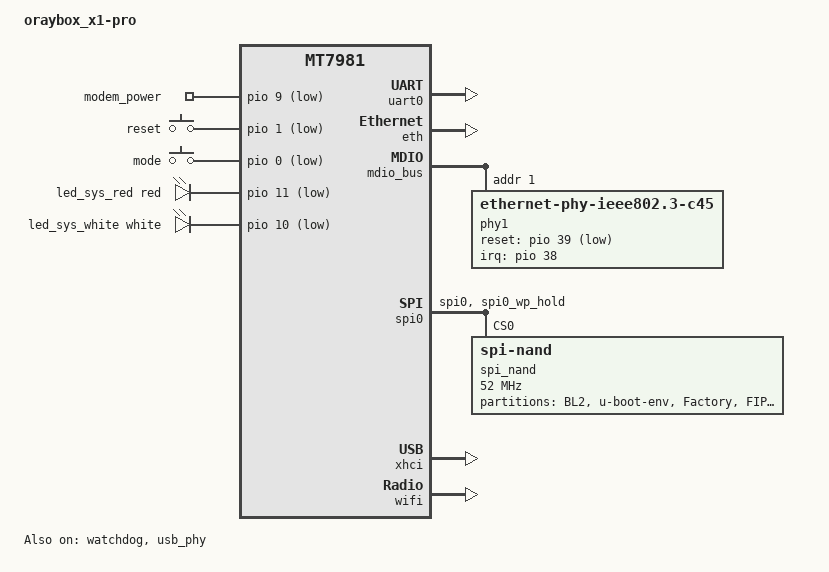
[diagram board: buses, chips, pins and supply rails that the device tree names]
// SPDX-License-Identifier: (GPL-2.0 OR MIT)
//
// Oray X1 Pro (128M NAND, ubootmod layout)
// Hardware identical to Cudy TR3000 v1 (MT7981)
// Partition layout aligned with uboot mtdparts:
//   nmbm0:1024k(bl2),512k(u-boot-env),2048k(factory),2048k(fip),
//          512k(bdinfo),2048k(kpanic),114688k(ubi_0)
//

/dts-v1/;
#include <dt-bindings/leds/common.h>
#include "mt7981.dtsi"

/ {
	model = "oraybox_x1-pro";
	compatible = "mediatek,mt7981", "mediatek,mt7981-rfb";


	aliases {
		label-mac-device = &gmac1;
		led-boot = &led_sys_red;
		led-failsafe = &led_sys_red;
		led-running = &led_sys_white;
		led-upgrade = &led_sys_white;
		serial0 = &uart0;
	};

	chosen: chosen {
		stdout-path = "serial0:115200n8";
	};

	/* GPIO export for modem power control */
	gpio-export {
		compatible = "gpio-export";

		modem_power {
			gpio-export,name = "modem_power";
			gpio-export,output = <0>;
			gpios = <&pio 9 GPIO_ACTIVE_LOW>;
		};
	};

	gpio-keys {
		compatible = "gpio-keys";

		reset {
			label = "reset";
			linux,code = <KEY_RESTART>;
			gpios = <&pio 1 GPIO_ACTIVE_LOW>;
		};

		mode {
			label = "mode";
			linux,code = <BTN_0>;
			linux,input-type = <EV_SW>;
			gpios = <&pio 0 GPIO_ACTIVE_LOW>;
			debounce-interval = <60>;
		};
	};

	leds {
		compatible = "gpio-leds";

		led_sys_red: led-0 {
			function = LED_FUNCTION_POWER;
			color = <LED_COLOR_ID_RED>;
			gpios = <&pio 11 GPIO_ACTIVE_LOW>;
		};

		led_sys_white: led-1 {
			function = LED_FUNCTION_STATUS;
			color = <LED_COLOR_ID_WHITE>;
			gpios = <&pio 10 GPIO_ACTIVE_LOW>;
		};
	};
};

&uart0 {
	status = "okay";
};

&watchdog {
	status = "okay";
};

&eth {
	pinctrl-names = "default";
	pinctrl-0 = <&mdio_pins>;
	status = "okay";

	gmac0: mac@0 {
		compatible = "mediatek,eth-mac";
		reg = <0>;
		phy-mode = "2500base-x";
		phy-handle = <&phy1>;
		nvmem-cell-names = "mac-address";
		nvmem-cells = <&macaddr_bdinfo_de00 1>;
	};

	gmac1: mac@1 {
		compatible = "mediatek,eth-mac";
		reg = <1>;
		phy-mode = "gmii";
		phy-handle = <&int_gbe_phy>;
		nvmem-cell-names = "mac-address";
		nvmem-cells = <&macaddr_bdinfo_de00 0>;
	};
};

&mdio_bus {
	phy1: phy@1 {
		compatible = "ethernet-phy-ieee802.3-c45";
		reg = <1>;
		reset-assert-us = <100000>;
		reset-deassert-us = <100000>;
		reset-gpios = <&pio 39 GPIO_ACTIVE_LOW>;
		interrupts = <38 IRQ_TYPE_LEVEL_LOW>;
		interrupt-parent = <&pio>;
		realtek,aldps-enable;
	};
};

&spi0 {
	pinctrl-names = "default";
	pinctrl-0 = <&spi0_flash_pins>;
	status = "okay";

	spi_nand: flash@0 {
		#address-cells = <1>;
		#size-cells = <1>;
		compatible = "spi-nand";
		reg = <0>;

		spi-max-frequency = <52000000>;
		spi-tx-bus-width = <4>;
		spi-rx-bus-width = <4>;

		/* SPI NAND calibration — from TR3000, verified working */
		spi-cal-enable;
		spi-cal-mode = "read-data";
		spi-cal-datalen = <7>;
		spi-cal-data = /bits/ 8 <0x53 0x50 0x49 0x4E 0x41 0x4E 0x44>;
		spi-cal-addrlen = <5>;
		spi-cal-addr = /bits/ 32 <0x0 0x0 0x0 0x0 0x0>;

		/* NMBM for bad block management */
		mediatek,nmbm;
		mediatek,bmt-max-ratio = <1>;
		mediatek,bmt-max-reserved-blocks = <64>;

		partitions {
			compatible = "fixed-partitions";
			#address-cells = <1>;
			#size-cells = <1>;

			partition@0 {
				label = "BL2";
				reg = <0x00000 0x100000>;
				read-only;
			};

			partition@100000 {
				label = "u-boot-env";
				reg = <0x100000 0x80000>;
				read-only;
			};

			factory: partition@180000 {
				label = "Factory";
				reg = <0x180000 0x200000>;
				read-only;

				nvmem-layout {
					compatible = "fixed-layout";
					#address-cells = <1>;
					#size-cells = <1>;

					eeprom_factory_0: eeprom@0 {
						reg = <0x0 0x1000>;
					};
				};
			};

			partition@380000 {
				label = "FIP";
				reg = <0x380000 0x200000>;
				read-only;
			};

			partition@580000 {
				label = "bdinfo";
				reg = <0x580000 0x80000>;
				read-only;

				nvmem-layout {
					compatible = "fixed-layout";
					#address-cells = <1>;
					#size-cells = <1>;

					macaddr_bdinfo_de00: macaddr@de00 {
						compatible = "mac-base";
						reg = <0xde00 0x6>;
						#nvmem-cell-cells = <1>;
					};
				};
			};

			partition@600000 {
				label = "kpanic";
				reg = <0x600000 0x200000>;
			};

			ubi_0: partition@800000 {
				label = "ubi_0";
				compatible = "linux,ubi";
				reg = <0x800000 0x7000000>;
			};
		};
	};
};

&pio {
	spi0_flash_pins: spi0-pins {
		mux {
			function = "spi";
			groups = "spi0", "spi0_wp_hold";
		};
	};
};

&usb_phy {
	status = "okay";
};

&xhci {
	status = "okay";
};

&wifi {
	status = "okay";
	nvmem-cells = <&eeprom_factory_0>;
	nvmem-cell-names = "eeprom";
};

&ubi_0 {
	reg = <0x800000 0x7000000>;
};
